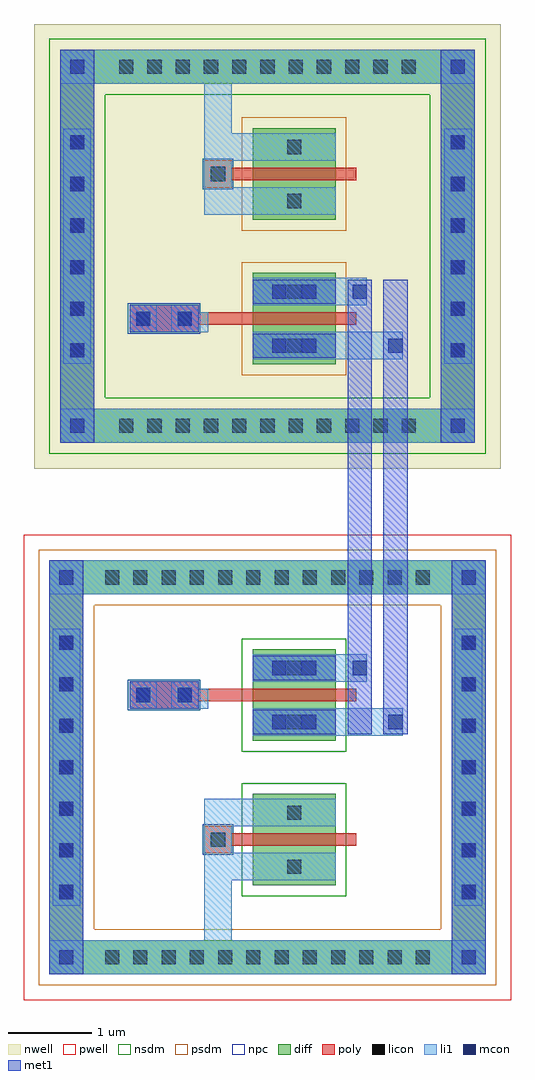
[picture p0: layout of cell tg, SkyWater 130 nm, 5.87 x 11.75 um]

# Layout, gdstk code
from math import pi, radians
import gdstk
lib = gdstk.Library(unit=1e-6, precision=5e-09)
def R(c, l, rs):  # rectangles x0, y0, x1, y1
    for r in rs: c.add(gdstk.rectangle(r[:2], r[2:], *l))
def A(c, l, x, y, w, h, nx, ny, dx, dy):  # array of equal rectangles
    R(c, l, [(x+i*dx, y+j*dy, x+i*dx+w, y+j*dy+h) for i in range(nx) for j in range(ny)])
def P(c, l, *ps):  # polygons
    for p in ps: c.add(gdstk.Polygon(p, *l))
nwell = (64, 20)
pwell = (64, 44)
diff = (65, 20)
poly = (66, 20)
licon = (66, 44)
li1 = (67, 20)
mcon = (67, 44)
met1 = (68, 20)
nsdm = (93, 44)
psdm = (94, 20)
npc = (95, 20)

unnamed_a899dd18 = lib.new_cell('Unnamed_a899dd18')
R(unnamed_a899dd18, nwell, [(-2.675,-2.805,2.675,2.805)])
A(unnamed_a899dd18, diff, -1.455, -2.495, 0.41, 0.41, 6, 2, 0.5, 4.58)
A(unnamed_a899dd18, diff, -2.365, -1.905, 0.41, 0.41, 1, 11, 0, 0.34)
A(unnamed_a899dd18, diff, 1.955, -1.905, 0.41, 0.41, 1, 11, 0, 0.34)
R(unnamed_a899dd18, diff, [(-1.455,-2.495,1.455,-2.085), (-2.365,-1.905,-1.955,1.905), (1.955,-1.905,2.365,1.905), (-1.42,-0.18,-0.32,0.82), (0.32,-0.18,1.42,0.82), (-1.455,2.085,1.455,2.495)])
P(unnamed_a899dd18, diff, [(2.365,2.495),(-2.365,2.495),(-2.365,-2.085),(-1.955,-2.085),(-1.955,2.085),(1.955,2.085),(1.955,-2.085),(-1.955,-2.085),(-2.365,-2.085),(-2.365,-2.495),(2.365,-2.495)])
R(unnamed_a899dd18, poly, [(0.705,-1.66,1.035,-1.33), (0.705,-1.66,1.035,-0.83), (0.705,-1.16,1.035,-0.83), (0.795,-0.83,0.945,-0.43), (-1.035,-0.76,-0.705,-0.43), (-1.035,-0.76,-0.705,-0.43), (-0.945,-0.43,-0.795,1.07), (0.795,-0.43,0.945,1.07)])
A(unnamed_a899dd18, licon, -1.335, -2.375, 0.17, 0.17, 6, 2, 0.5, 4.58)
A(unnamed_a899dd18, licon, -2.245, -1.785, 0.17, 0.17, 1, 11, 0, 0.34)
A(unnamed_a899dd18, licon, 2.075, -1.785, 0.17, 0.17, 1, 11, 0, 0.34)
R(unnamed_a899dd18, licon, [(0.785,-1.58,0.955,-1.41), (0.785,-1.08,0.955,-0.91), (-0.955,-0.68,-0.785,-0.51), (-1.28,0.235,-1.11,0.405), (-0.63,0.235,-0.46,0.405), (0.46,0.235,0.63,0.405), (1.11,0.235,1.28,0.405)])
A(unnamed_a899dd18, li1, -1.415, -2.455, 0.33, 0.33, 6, 2, 0.5, 4.58)
A(unnamed_a899dd18, li1, -2.325, -1.865, 0.33, 0.33, 1, 11, 0, 0.34)
A(unnamed_a899dd18, li1, 1.995, -1.865, 0.33, 0.33, 1, 11, 0, 0.34)
R(unnamed_a899dd18, li1, [(-2.365,-2.495,-1.955,-2.085), (1.955,-2.495,2.365,-2.085), (-1.415,-2.455,1.415,-2.125), (-2.245,-2.375,-2.075,-2.205), (-2.245,-2.375,-2.075,-2.205), (2.075,-2.375,2.245,-2.205), (2.075,-2.375,2.245,-2.205), (-2.365,-2.085,-1.955,2.085), (1.955,-2.085,2.365,2.085), (0.705,-1.66,1.035,-1.33), (0.705,-1.16,1.035,-0.83), (-2.365,-0.76,-1.035,-0.43), (-1.36,-0.76,-1.035,-0.43), (-1.36,-0.76,-1.03,-0.18), (-1.035,-0.76,-0.705,-0.43), (-0.71,-0.76,-0.38,-0.18), (-0.705,-0.76,-0.38,-0.43), (-1.36,-0.18,-1.03,0.82), (-0.71,-0.18,-0.38,0.82), (0.38,-0.18,0.71,0.82), (1.03,-0.18,1.36,0.82), (0.46,0.055,0.63,0.225), (0.46,0.055,0.63,0.585), (1.11,0.055,1.28,0.225), (1.11,0.055,1.28,0.585), (-1.36,0.155,-1.03,0.485), (-0.71,0.155,-0.38,0.485), (0.38,0.155,0.71,0.485), (1.03,0.155,1.36,0.485), (0.46,0.415,0.63,0.585), (1.11,0.415,1.28,0.585), (0.38,0.82,0.71,1.195), (1.03,0.82,1.36,1.625), (0.46,1.025,0.63,1.195), (1.11,1.455,1.28,1.625), (-2.365,2.085,-1.955,2.495), (1.955,2.085,2.365,2.495), (-1.415,2.125,1.415,2.455), (-2.245,2.205,-2.075,2.375), (-2.245,2.205,-2.075,2.375), (2.075,2.205,2.245,2.375), (2.075,2.205,2.245,2.375)])
A(unnamed_a899dd18, mcon, -1.335, -2.375, 0.17, 0.17, 6, 2, 0.5, 4.58)
R(unnamed_a899dd18, mcon, [(-2.245,-2.375,-2.075,-2.205), (2.075,-2.375,2.245,-2.205), (0.785,-1.58,0.955,-1.41), (0.785,-1.08,0.955,-0.91), (0.46,0.055,0.63,0.225), (1.11,0.055,1.28,0.225), (0.46,0.415,0.63,0.585), (1.11,0.415,1.28,0.585), (0.46,1.025,0.63,1.195), (1.11,1.455,1.28,1.625), (-2.245,2.205,-2.075,2.375), (2.075,2.205,2.245,2.375)])
A(unnamed_a899dd18, met1, -1.395, -2.435, 0.29, 0.29, 6, 2, 0.5, 4.58)
R(unnamed_a899dd18, met1, [(-2.365,-2.495,-1.955,-2.085), (-2.365,-2.495,-1.955,-2.085), (-1.955,-2.495,1.955,-2.085), (1.955,-2.495,2.365,-2.085), (1.955,-2.495,2.365,-2.085), (-2.305,-2.435,-2.015,-2.145), (2.015,-2.435,2.305,-2.145), (0.705,-1.66,1.035,-0.83), (0.725,-1.64,1.015,-1.35), (0.725,-1.14,1.015,-0.85), (0.4,-0.18,0.69,0.82), (1.05,-0.18,1.34,0.82), (0.4,-0.005,0.69,0.285), (1.05,-0.005,1.34,0.285), (0.4,0.355,0.69,0.645), (1.05,0.355,1.34,0.645), (0.4,0.965,0.69,1.255), (0.4,0.965,1.34,1.255), (0.4,1.395,1.34,1.685), (1.05,1.395,1.34,1.685), (-2.365,2.085,-1.955,2.495), (-2.365,2.085,-1.955,2.495), (-1.955,2.085,1.955,2.495), (1.955,2.085,2.365,2.495), (1.955,2.085,2.365,2.495), (-2.305,2.145,-2.015,2.435), (2.015,2.145,2.305,2.435)])
P(unnamed_a899dd18, nsdm, [(2.495,2.625),(-2.495,2.625),(-2.495,-1.955),(-1.825,-1.955),(-1.825,1.955),(1.825,1.955),(1.825,-1.955),(-1.825,-1.955),(-2.495,-1.955),(-2.495,-2.625),(2.495,-2.625)])
R(unnamed_a899dd18, psdm, [(-1.55,-0.31,-0.19,0.95), (0.19,-0.31,1.55,0.95)])
R(unnamed_a899dd18, npc, [(0.685,-1.68,1.055,-1.31), (0.685,-1.68,1.055,-0.81), (0.685,-1.68,1.055,-0.81), (0.685,-1.18,1.055,-0.81), (-1.055,-0.78,-0.685,-0.41)])

unnamed_d0c5e0f3 = lib.new_cell('Unnamed_d0c5e0f3')
R(unnamed_d0c5e0f3, pwell, [(-2.8,-2.935,2.8,2.935)])
A(unnamed_d0c5e0f3, diff, -1.705, -2.625, 0.41, 0.41, 7, 2, 0.5, 4.84)
A(unnamed_d0c5e0f3, diff, -2.49, -2.075, 0.41, 0.41, 1, 12, 0, 0.34)
A(unnamed_d0c5e0f3, diff, 2.08, -2.075, 0.41, 0.41, 1, 12, 0, 0.34)
R(unnamed_d0c5e0f3, diff, [(-1.705,-2.625,1.705,-2.215), (-2.49,-2.075,-2.08,2.075), (2.08,-2.075,2.49,2.075), (-1.42,-0.18,-0.32,0.82), (0.32,-0.18,1.42,0.82), (-1.705,2.215,1.705,2.625)])
P(unnamed_d0c5e0f3, diff, [(2.49,2.625),(-2.49,2.625),(-2.49,-2.215),(-2.08,-2.215),(-2.08,2.215),(2.08,2.215),(2.08,-2.215),(-2.08,-2.215),(-2.49,-2.215),(-2.49,-2.625),(2.49,-2.625)])
R(unnamed_d0c5e0f3, poly, [(-1.035,-1.66,-0.705,-1.33), (-1.035,-1.66,-0.705,-0.83), (-1.035,-1.16,-0.705,-0.83), (-0.945,-0.83,-0.795,-0.43), (0.705,-0.76,1.035,-0.43), (0.705,-0.76,1.035,-0.43), (-0.945,-0.43,-0.795,1.07), (0.795,-0.43,0.945,1.07)])
A(unnamed_d0c5e0f3, licon, -1.585, -2.505, 0.17, 0.17, 7, 2, 0.5, 4.84)
A(unnamed_d0c5e0f3, licon, -2.37, -1.955, 0.17, 0.17, 1, 12, 0, 0.34)
A(unnamed_d0c5e0f3, licon, 2.2, -1.955, 0.17, 0.17, 1, 12, 0, 0.34)
R(unnamed_d0c5e0f3, licon, [(-0.955,-1.58,-0.785,-1.41), (-0.955,-1.08,-0.785,-0.91), (0.785,-0.68,0.955,-0.51), (-1.28,0.235,-1.11,0.405), (-0.63,0.235,-0.46,0.405), (0.46,0.235,0.63,0.405), (1.11,0.235,1.28,0.405)])
A(unnamed_d0c5e0f3, li1, -1.665, -2.585, 0.33, 0.33, 7, 2, 0.5, 4.84)
A(unnamed_d0c5e0f3, li1, -2.45, -2.035, 0.33, 0.33, 1, 12, 0, 0.34)
A(unnamed_d0c5e0f3, li1, 2.12, -2.035, 0.33, 0.33, 1, 12, 0, 0.34)
R(unnamed_d0c5e0f3, li1, [(-2.49,-2.625,-2.08,-2.215), (2.08,-2.625,2.49,-2.215), (-1.665,-2.585,1.665,-2.255), (-2.37,-2.505,-2.2,-2.335), (-2.37,-2.505,-2.2,-2.335), (2.2,-2.505,2.37,-2.335), (2.2,-2.505,2.37,-2.335), (-2.49,-2.215,-2.08,2.215), (2.08,-2.215,2.49,2.215), (-1.035,-1.66,-0.705,-1.33), (-1.035,-1.16,-0.705,-0.83), (0.38,-0.76,0.705,-0.43), (0.38,-0.76,0.71,-0.18), (0.705,-0.76,1.035,-0.43), (0.705,-0.76,2.49,-0.43), (1.03,-0.76,1.36,-0.18), (1.035,-0.76,1.36,-0.43), (-1.36,-0.18,-1.03,0.82), (-0.71,-0.18,-0.38,0.82), (0.38,-0.18,0.71,0.82), (1.03,-0.18,1.36,0.82), (-1.28,0.055,-1.11,0.225), (-1.28,0.055,-1.11,0.585), (-0.63,0.055,-0.46,0.225), (-0.63,0.055,-0.46,0.585), (-1.36,0.155,-1.03,0.485), (-0.71,0.155,-0.38,0.485), (0.38,0.155,0.71,0.485), (1.03,0.155,1.36,0.485), (-1.28,0.415,-1.11,0.585), (-0.63,0.415,-0.46,0.585), (-1.36,0.82,-1.03,1.195), (-0.71,0.82,-0.38,1.625), (-1.28,1.025,-1.11,1.195), (-0.63,1.455,-0.46,1.625), (-2.49,2.215,-2.08,2.625), (2.08,2.215,2.49,2.625), (-1.665,2.255,1.665,2.585), (-2.37,2.335,-2.2,2.505), (-2.37,2.335,-2.2,2.505), (2.2,2.335,2.37,2.505), (2.2,2.335,2.37,2.505)])
A(unnamed_d0c5e0f3, mcon, -1.585, -2.505, 0.17, 0.17, 7, 2, 0.5, 4.84)
R(unnamed_d0c5e0f3, mcon, [(-2.37,-2.505,-2.2,-2.335), (2.2,-2.505,2.37,-2.335), (-0.955,-1.58,-0.785,-1.41), (-0.955,-1.08,-0.785,-0.91), (-1.28,0.055,-1.11,0.225), (-0.63,0.055,-0.46,0.225), (-1.28,0.415,-1.11,0.585), (-0.63,0.415,-0.46,0.585), (-1.28,1.025,-1.11,1.195), (-0.63,1.455,-0.46,1.625), (-2.37,2.335,-2.2,2.505), (2.2,2.335,2.37,2.505)])
A(unnamed_d0c5e0f3, met1, -1.645, -2.565, 0.29, 0.29, 7, 2, 0.5, 4.84)
R(unnamed_d0c5e0f3, met1, [(-2.49,-2.625,-2.08,-2.215), (-2.49,-2.625,-2.08,-2.215), (-2.08,-2.625,2.08,-2.215), (2.08,-2.625,2.49,-2.215), (2.08,-2.625,2.49,-2.215), (-2.43,-2.565,-2.14,-2.275), (2.14,-2.565,2.43,-2.275), (-1.035,-1.66,-0.705,-0.83), (-1.015,-1.64,-0.725,-1.35), (-1.015,-1.14,-0.725,-0.85), (-1.34,-0.18,-1.05,0.82), (-0.69,-0.18,-0.4,0.82), (-1.34,-0.005,-1.05,0.285), (-0.69,-0.005,-0.4,0.285), (-1.34,0.355,-1.05,0.645), (-0.69,0.355,-0.4,0.645), (-1.34,0.965,-1.05,1.255), (-1.34,0.965,-0.4,1.255), (-1.34,1.395,-0.4,1.685), (-0.69,1.395,-0.4,1.685), (-2.49,2.215,-2.08,2.625), (-2.49,2.215,-2.08,2.625), (-2.08,2.215,2.08,2.625), (2.08,2.215,2.49,2.625), (2.08,2.215,2.49,2.625), (-2.43,2.275,-2.14,2.565), (2.14,2.275,2.43,2.565)])
R(unnamed_d0c5e0f3, nsdm, [(-1.55,-0.31,-0.19,0.95), (0.19,-0.31,1.55,0.95)])
P(unnamed_d0c5e0f3, psdm, [(2.62,2.755),(-2.62,2.755),(-2.62,-2.085),(-1.95,-2.085),(-1.95,2.085),(1.95,2.085),(1.95,-2.085),(-1.95,-2.085),(-2.62,-2.085),(-2.62,-2.755),(2.62,-2.755)])
R(unnamed_d0c5e0f3, npc, [(-1.055,-1.68,-0.685,-1.31), (-1.055,-1.68,-0.685,-0.81), (-1.055,-1.68,-0.685,-0.81), (-1.055,-1.18,-0.685,-0.81), (0.685,-0.78,1.055,-0.41)])

straight_route_ff377726 = lib.new_cell('straight_route_ff377726')
R(straight_route_ff377726, met1, [(0.965,0.4,1.255,4.93)])

straight_route_555bf787 = lib.new_cell('straight_route_555bf787')
R(straight_route_555bf787, met1, [(1.395,0.4,1.685,4.93)])

compass_45394bd3 = lib.new_cell('compass_45394bd3')
R(compass_45394bd3, li1, [(-0.12,-0.12,0.12,0.12)])

unnamed_5a8e88bd = lib.new_cell('Unnamed_5a8e88bd')
unnamed_5a8e88bd.add(gdstk.Reference(compass_45394bd3, (0,0)))
unnamed_5a8e88bd.add(gdstk.Label('A', (0,0), layer=67, texttype=5))

compass_45394bd3_1 = lib.new_cell('compass_45394bd3$1')
R(compass_45394bd3_1, li1, [(-0.12,-0.12,0.12,0.12)])

unnamed_8382db65 = lib.new_cell('Unnamed_8382db65')
unnamed_8382db65.add(gdstk.Reference(compass_45394bd3_1, (0,0)))
unnamed_8382db65.add(gdstk.Label('Y', (0,0), layer=67, texttype=5))

compass_45394bd3_2 = lib.new_cell('compass_45394bd3$2')
R(compass_45394bd3_2, li1, [(-0.12,-0.12,0.12,0.12)])

unnamed_d85cfc8a = lib.new_cell('Unnamed_d85cfc8a')
unnamed_d85cfc8a.add(gdstk.Reference(compass_45394bd3_2, (0,0)))
unnamed_d85cfc8a.add(gdstk.Label('C', (0,0), layer=67, texttype=5))

compass_45394bd3_3 = lib.new_cell('compass_45394bd3$3')
R(compass_45394bd3_3, li1, [(-0.12,-0.12,0.12,0.12)])

unnamed_16c14cbf = lib.new_cell('Unnamed_16c14cbf')
unnamed_16c14cbf.add(gdstk.Reference(compass_45394bd3_3, (0,0)))
unnamed_16c14cbf.add(gdstk.Label('CBAR', (0,0), layer=67, texttype=5))

c_tg = lib.new_cell('tg')
c_tg.add(gdstk.Reference(unnamed_a899dd18, (0,6.27), rotation=3*pi/2))
c_tg.add(gdstk.Reference(unnamed_d0c5e0f3, (0,0), rotation=3*pi/2))
c_tg.add(gdstk.Reference(straight_route_ff377726, (0,0)))
c_tg.add(gdstk.Reference(straight_route_555bf787, (0,0)))
c_tg.add(gdstk.Reference(unnamed_5a8e88bd, (1.395,0.52)))
c_tg.add(gdstk.Reference(unnamed_8382db65, (1.395,5.05)))
c_tg.add(gdstk.Reference(unnamed_d85cfc8a, (-0.83,0.825)))
c_tg.add(gdstk.Reference(unnamed_16c14cbf, (-0.83,5.355)))

lib.write_gds('tg.gds')
